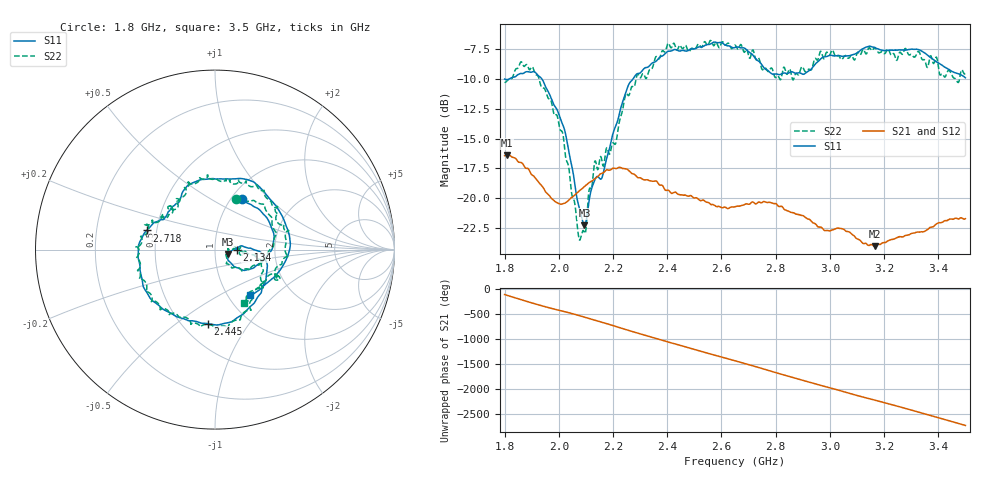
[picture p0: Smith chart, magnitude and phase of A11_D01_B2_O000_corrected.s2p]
! Created with skrf 1.9.0 (http://scikit-rf.org).
# Hz S RI R 50.0
!freq ReS11 ImS11 ReS21 ImS21 ReS12 ImS12 ReS22 ImS22
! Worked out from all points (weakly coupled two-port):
!   1601 points, 1.8 GHz to 3.5 GHz, reference 50 ohm
!   highest |S21| = -16.41 dB at 1.808 GHz (marker M1); lowest = -24.0 dB at 3.165 GHz (marker M2)
!   lowest |S11| = -22.3 dB at 2.094 GHz (marker M3), VSWR 1.17, Z = 57.8 - j2.8 ohm
!   |S11| at or under -10 dB: start of sweep to 1.817 GHz; 1.937 GHz to 2.274 GHz (336.3 MHz wide, 16 % of centre)
!   |S22| runs from -23.5 to -6.8 dB; largest |S21 - S12| = 0.0029
!   S11 on the Smith chart (normalised r, x): 1.8 GHz: 1.12, +0.69; 2.134 GHz: 1.27, +0.00; 2.445 GHz: 0.66, -0.66; 2.718 GHz: 0.44, +0.11; 3.5 GHz: 1.26, -0.71
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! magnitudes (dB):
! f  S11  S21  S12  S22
! 1.8 GHz  -10.0  -16.4  -16.4  -10.3
! 1.808 GHz  -10.1  -16.4  -16.4  -10.2
! 1.865 GHz  -9.6  -17.1  -17.1  -8.7
! 1.915 GHz  -9.5  -18.4  -18.3  -9.6
! 1.968 GHz  -11.4  -19.9  -19.9  -11.7
! 2.022 GHz  -14.3  -20.4  -20.4  -16.0
! 2.072 GHz  -20.5  -19.5  -19.5  -23.1
! 2.084 GHz  -21.5  -19.3  -19.2  -23.0
! 2.094 GHz  -22.3  -19.0  -19.1  -22.9
! 2.134 GHz  -18.4  -18.4  -18.4  -16.9
! 2.16 GHz  -18.2  -17.9  -17.8  -17.0
! 2.208 GHz  -14.1  -17.5  -17.5  -15.5
! 2.259 GHz  -10.4  -17.7  -17.7  -11.4
! 2.367 GHz  -8.3  -18.8  -18.7  -8.3
! 2.445 GHz  -7.7  -19.7  -19.7  -7.2
! 2.65 GHz  -7.4  -20.7  -20.7  -7.2
! 2.718 GHz  -8.1  -20.3  -20.3  -7.6
! 2.812 GHz  -9.6  -20.7  -20.6  -9.8
! 2.934 GHz  -9.1  -22.0  -22.0  -9.1
! 3.165 GHz  -7.4  -24.0  -24.0  -7.4
! 3.217 GHz  -7.6  -23.5  -23.5  -7.6
! 3.5 GHz  -9.9  -21.7  -21.7  -9.4
